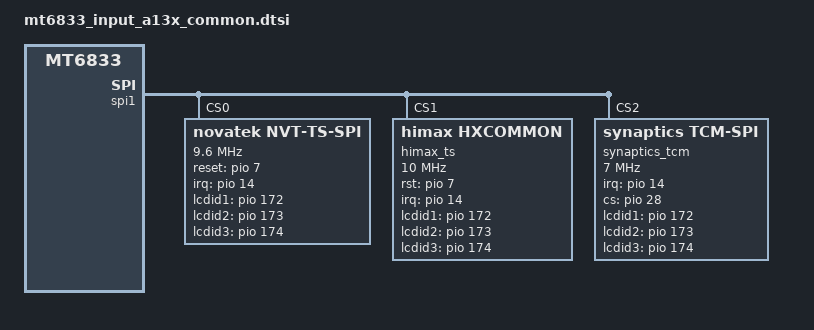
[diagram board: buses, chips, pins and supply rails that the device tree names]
/*
 * SAMSUNG Input Device Tree Source
 *
 * Copyright (c) Samsung Electronics Co., Ltd.
 *		http://www.samsung.com
 *
 * This program is free software; you can redistribute it and/or modify
 * it under the terms of the GNU General Public License version 2 as
 * published by the Free Software Foundation.
 */
/* TOUCH start */
/* touch gpio start */
&pio {
	tsp_on_clk: tsp-on-clk {
		pins_cmd_dat{
			pinmux = <PINMUX_GPIO27__FUNC_SPI1_CLK>;
			bias-disable;
		};
	};

	tsp_on_cs: tsp-on-cs {
		pins_cmd_dat{
			pinmux = <PINMUX_GPIO28__FUNC_SPI1_CSB>;
			bias-disable;
		};
	};

	tsp_on_mosi: tsp-on-mosi {
		pins_cmd_dat{
			pinmux = <PINMUX_GPIO29__FUNC_SPI1_MO>;
			bias-disable;
		};
	};

	tsp_on_miso: tsp-on-miso {
		pins_cmd_dat{
			pinmux = <PINMUX_GPIO30__FUNC_SPI1_MI>;
			bias-disable;
		};
	};

	tsp_off_clk: tsp-off-clk {
		pins_cmd_dat{
			pinmux = <PINMUX_GPIO27__FUNC_GPIO27>;
			slew-rate = <1>;
			bias-disable;
			output-low;
		};
	};

	tsp_off_cs: tsp-off-cs {
		pins_cmd_dat{
			pinmux = <PINMUX_GPIO28__FUNC_GPIO28>;
			slew-rate = <1>;
			bias-disable;
			output-low;
		};
	};

	tsp_off_mosi: tsp-off-mosi {
		pins_cmd_dat{
			pinmux = <PINMUX_GPIO29__FUNC_GPIO29>;
			slew-rate = <1>;
			bias-disable;
			output-low;
		};
	};

	tsp_off_miso: tsp-off-miso {
		pins_cmd_dat{
			pinmux = <PINMUX_GPIO30__FUNC_GPIO30>;
			slew-rate = <0>;
			bias-pull-down;
			input-enable;
		};
	};

	intr_on: intr-on {
               pins_cmd_dat {
                       pinmux = <PINMUX_GPIO14__FUNC_GPIO14>;
                       slew-rate = <0>;
                       bias-disable;
               };
	};

	intr_off: intr-off {
		pins_cmd_dat {
                       pinmux = <PINMUX_GPIO14__FUNC_GPIO14>;
                       slew-rate = <0>;
                       input-enable;
                       bias-pull-down;
               };
	};

	reset_on: reset-on {
		pins_cmd_dat {
			pinmux = <PINMUX_GPIO7__FUNC_GPIO7>;
			slew-rate = <1>;
			bias-disable;
			output-high;
		};
	};
	reset_off: reset-off {
		pins_cmd_dat {
			pinmux = <PINMUX_GPIO7__FUNC_GPIO7>;
			slew-rate = <1>;
			bias-disable;
			output-low;
		};
	};

	tsp_id1_default: tsp-id1-default {
		pins_cmd_dat {
			pinmux = <PINMUX_GPIO172__FUNC_GPIO172>;
			slew-rate = <0>;
			input-enable;
			bias-disable;
		};
	};
	tsp_id2_default: tsp-id2-default {
		pins_cmd_dat {
			pinmux = <PINMUX_GPIO173__FUNC_GPIO173>;
			slew-rate = <0>;
			input-enable;
			bias-disable;
		};
	};
	tsp_id3_default: tsp-id3-default {
		pins_cmd_dat {
			pinmux = <PINMUX_GPIO174__FUNC_GPIO174>;
			slew-rate = <0>;
			input-enable;
			bias-disable;
		};
	};
};
/* touch gpio end */

&spi1 {
	status = "okay";
	#address-cells = <1>;
	#size-cells = <0>;
	num-cs = <3>;

	/* Novatek device tree node */
	novatek@0 {
		status = "okay";
		compatible = "novatek,NVT-ts-spi";
		reg = <0>; //Same as CS ID
		spi-max-frequency = <9600000>;
		novatek,reset-gpio = <&pio 7 0x00>;
		novatek,irq-gpio = <&pio 14 0x2002>;
		pinctrl-names = "on_state", "off_state";
		pinctrl-0 = <&intr_on &reset_on &tsp_on_miso &tsp_on_cs &tsp_on_mosi &tsp_on_clk &tsp_id1_default &tsp_id2_default &tsp_id3_default>;
		pinctrl-1 = <&intr_off &reset_off &tsp_off_miso &tsp_off_cs &tsp_off_mosi &tsp_off_clk &tsp_id1_default &tsp_id2_default &tsp_id3_default>;
		
		novatek,resolution = <720 1600>;
		novatek,enable_settings_aot;
		novatek,support_ear_detect_mode;
		novatek,prox_lp_scan_enabled;
		novatek,enable_sysinput_enabled;

		novatek,lcdid1-gpio = <&pio 172 0x0>;
		novatek,lcdid2-gpio = <&pio 173 0x0>;
		novatek,lcdid3-gpio = <&pio 174 0x0>;
		novatek,lcdid = <3 6>;	// 0,0,0,BOE,0,0,bringup
		novatek,lcdtype = <0 0 0 0x2a6244 0 0 0x2af240>;
		novatek,fw_name = "","","","tsp_novatek/nt36525c_a13x_boe.bin","","","tsp_novatek/nt36525c_a13x_bringup.bin";
		novatek,fw_name_mp = "","","","tsp_novatek/nt36525c_a13x_mp_boe.bin","","","tsp_novatek/nt36525c_a13x_mp_bringup.bin";

		novatek,regulator_lcd_vdd = "vcamio";
		novatek,regulator_lcd_reset = "gpio_lcd_rst";
		novatek,regulator_lcd_bl = "gpio_lcd_bl_en";

		/* 672A, 525B, 675, 526, 672C */
		novatek,swrst-n8-addr = <0x03F0FE>;
		novatek,spi-rd-fast-addr = <0x03F310>;

		/* MP */
		novatek,mp-support-dt;

		/* nt36525_a12_ltps */
//		novatek-mp-criteria-722A@3 {
//			#address-cells = <1>;
//			#size-cells = <0>;
//			compatible = "novatek-mp-criteria-722A";

			/* sec cmd test config */
//			open_test_spec = <(-511) 5120>;
//			short_test_spec = <10000 14008>;
//			diff_test_frame = <50>;
			/* sec cmd fdm test config */
//			fdm_x_num = <2>;
//			fdm_diff_test_frame = <50>;
//		};
	};

	himax_ts@1 {
		status = "okay";
		compatible = "himax,hxcommon";
		reg = <1>; //Same as CS ID
		spi-max-frequency = <10000000>;

		pinctrl-names = "on_state", "off_state";
		pinctrl-0 = <&intr_on &reset_on &tsp_on_miso &tsp_on_cs &tsp_on_mosi &tsp_on_clk &tsp_id1_default &tsp_id2_default &tsp_id3_default>;
		pinctrl-1 = <&intr_off &tsp_off_miso &tsp_off_cs &tsp_off_mosi &tsp_off_clk &tsp_id1_default &tsp_id2_default &tsp_id3_default>;
		//&reset_off need to control at driver, spi low -> need 1frame delay -> tsp_reset low.

		himax,rst-gpio = <&pio 7 0>;
		himax,irq-gpio = <&pio 14 0>;
		
		himax,panel-coords = <720 1600>;
		himax,display-coords = <720 1600>;
		himax,notch-setting    = <287 319>;
		himax,project_name = "A13X", "A136";

		support_aot;
		himax,enable_sysinput_enabled;
		himax,support_ear_detect_mode;
		himax,prox_lp_scan_enabled;

		himax,lcdid1-gpio = <&pio 172 0x0>;
		himax,lcdid2-gpio = <&pio 173 0x0>;
		himax,lcdid3-gpio = <&pio 174 0x0>;
		himax,lcdid = <5>;	// 0,0,0,0,0,BOE_Himax
		himax,lcdtype = <0 0 0 0 0 0x2a6234>;
		himax,fw_name = "","","","","","tsp_himax/hx83108a_a13x.bin";

		himax,regulator_lcd_vdd = "vcamio";
		himax,regulator_lcd_reset = "gpio_lcd_rst";
		himax,regulator_lcd_bl = "gpio_lcd_bl_en";
		himax,one_frame_delay = <20>;
		
		himax,report_type = <1>;
	};

	synaptics_tcm@2 {
		status = "okay";
		compatible = "synaptics,tcm-spi";
		reg = <2>;
		spi-max-frequency = <7000000>;
		
		pinctrl-names = "default", "on_state", "off_state";
		pinctrl-0 = <&intr_on &reset_on &tsp_on_miso &tsp_on_cs &tsp_on_mosi &tsp_on_clk &tsp_id1_default &tsp_id2_default &tsp_id3_default>;
		pinctrl-1 = <&intr_on &reset_on &tsp_on_miso &tsp_on_cs &tsp_on_mosi &tsp_on_clk &tsp_id1_default &tsp_id2_default &tsp_id3_default>;
		pinctrl-2 = <&intr_off &reset_off &tsp_off_miso &tsp_off_cs &tsp_off_mosi &tsp_off_clk &tsp_id1_default &tsp_id2_default &tsp_id3_default>;

		synaptics,irq-gpio = <&pio 14 0x2008>; /* IRQF_ONESHOT | IRQF_TRIGGER_LOW */
		synaptics,irq-on-state = <0>;
		synaptics,cs-gpio = <&pio 28 0>;
		synaptics,spi-mode = <3>;
		synaptics,byte-delay-us = <0>;
		synaptics,block-delay-us = <0>;
		synaptics,ubl-max-freq = <7000000>;
		synaptics,ubl-byte-delay-us = <20>;
		synaptics,area-size = <48 81 30>;
		synaptics,regulator_lcd_vdd = "vcamio";
		synaptics,regulator_lcd_bl = "gpio_lcd_bl_en";
		synaptics,regulator_lcd_reset = "gpio_lcd_rst";
		synaptics,lcdid1-gpio = <&pio 172 0x0>;
		synaptics,lcdid2-gpio = <&pio 173 0x0>;
		synaptics,lcdid3-gpio = <&pio 174 0x0>;
		synaptics,enable_settings_aot;
		synaptics,support_ear_detect_mode;
		synaptics,prox_lp_scan_enabled;
		synaptics,enable_sysinput_enabled;
		synaptics,lcdid = <0>;	// BOE-TD4375, BOE-TD4150, BOE-TD4160
		synaptics,lcdtype = <0x2A6220>;
		synaptics,fw_name = "tsp_synaptics/td4160_a13x_boe.bin";

		controller-data {
//			cs-gpio = <&gpm3 0 0>;
			samsung,spi-feedback-delay = <0>;
		};
	};

	

};
/* TOUCH end */
